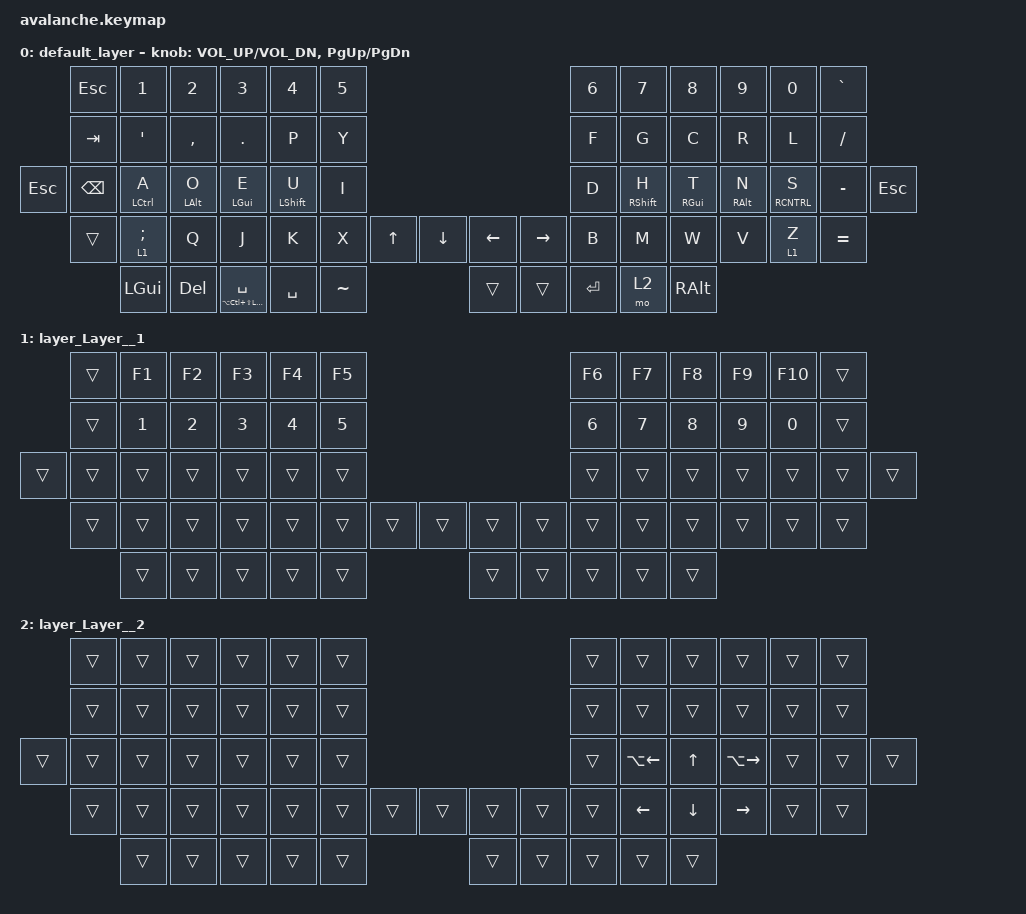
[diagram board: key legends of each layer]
#include <behaviors.dtsi>
#include <dt-bindings/zmk/keys.h>

/ {
    behaviors {
        bhm: balanced_homerow_mods {
            compatible = "zmk,behavior-hold-tap";
            label = "HOMEROW_MODS";
            #binding-cells = <2>;
            tapping-term-ms = <200>;    // <---[[moderate duration]]
            quick-tap-ms = <0>;
            flavor = "balanced";
            bindings = <&kp>, <&kp>;
        };
        hm: homerow_mods {
            compatible = "zmk,behavior-hold-tap";
            label = "HOMEROW_MODS";
            #binding-cells = <2>;
            tapping-term-ms = <250>;
            flavor = "tap-preferred";
            bindings = <&kp>, <&kp>;
        };
    };

	keymap {
		compatible = "zmk,keymap";

/*
        &trans  &trans  &trans  &trans  &trans  &trans                                   &trans  &trans  &trans  &trans  &trans  &trans 
// ------------------------------------------------------------------------------------------------------------------------------------------------------------------------------------
        &trans  &trans  &trans  &trans  &trans  &trans                                   &trans  &trans  &trans  &trans  &trans  &trans 
// ------------------------------------------------------------------------------------------------------------------------------------------------------------------------------------
&trans  &trans  &trans  &trans  &trans  &trans  &trans                                   &trans  &trans  &trans  &trans  &trans  &trans  &trans 
// ------------------------------------------------------------------------------------------------------------------------------------------------------------------------------------
        &trans  &trans  &trans  &trans  &trans  &trans  &trans  &trans    &trans &trans  &trans  &trans  &trans  &trans  &trans  &trans 
// ------------------------------------------------------------------------------------------------------------------------------------------------------------------------------------
                                &trans  &trans  &trans  &trans  &trans    &trans &trans  &trans  &trans  &trans
*/

		default_layer {
			bindings = <
        &kp ESC   &kp N1            &kp N2      &kp N3      &kp N4       &kp N5                                   &kp N6 &kp N7       &kp N8      &kp N9      &kp N0        &kp GRAVE
// ------------------------------------------------------------------------------------------------------------------------------------------------------------------------------------
	    &kp TAB   &kp SINGLE_QUOTE  &kp COMMA   &kp DOT     &kp P        &kp Y                                    &kp F  &kp G        &kp C       &kp R       &kp L         &kp SLASH
// ------------------------------------------------------------------------------------------------------------------------------------------------------------------------------------
&kp ESC &kp BSPC  &hm LCTRL A       &hm LALT O  &hm LGUI E  &hm LSHFT U  &kp I                                    &kp D  &hm RSHFT H  &hm RGUI T  &hm RALT N  &hm RCNTRL S  &kp MINUS  &kp ESC
// ------------------------------------------------------------------------------------------------------------------------------------------------------------------------------------
	    &trans    &lt 1 SEMICOLON   &kp Q       &kp J       &kp K        &kp X &kp UP &kp DOWN &kp LEFT &kp RIGHT &kp B  &kp M        &kp W       &kp V       &lt 1 Z       &kp EQUAL
// ------------------------------------------------------------------------------------------------------------------------------------------------------------------------------------
	                   &kp LGUI  &kp DEL  &mt LA(LC(LS(LEFT_GUI))) SPACE  &kp SPACE  &kp TILDE   &trans  &trans &kp RET  &mo 2  &kp RALT
			>;
		    sensor-bindings = <&inc_dec_kp C_VOL_UP C_VOL_DN &inc_dec_kp PG_UP PG_DN>;
		};

        layer_Layer__1 {
            bindings = <
        &trans  &kp F1  &kp F2  &kp F3  &kp F4  &kp F5                                   &kp F6  &kp F7  &kp F8  &kp F9  &kp F10  &trans
// ------------------------------------------------------------------------------------------------------------------------------------------------------------------------------------
        &trans  &kp N1  &kp N2  &kp N3  &kp N4  &kp N5                                   &kp N6  &kp N7  &kp N8  &kp N9  &kp N0   &trans
// ------------------------------------------------------------------------------------------------------------------------------------------------------------------------------------
&trans  &trans  &trans  &trans  &trans  &trans  &trans                                   &trans  &trans  &trans  &trans  &trans  &trans  &trans 
// ------------------------------------------------------------------------------------------------------------------------------------------------------------------------------------
        &trans  &trans  &trans  &trans  &trans  &trans  &trans  &trans    &trans &trans  &trans  &trans  &trans  &trans  &trans  &trans 
// ------------------------------------------------------------------------------------------------------------------------------------------------------------------------------------
                                &trans  &trans  &trans  &trans  &trans    &trans &trans  &trans  &trans  &trans
            >;
        };

        layer_Layer__2 {
            bindings = <
        &trans  &trans  &trans  &trans  &trans  &trans                                   &trans  &trans         &trans        &trans         &trans  &trans 
// ------------------------------------------------------------------------------------------------------------------------------------------------------------------------------------
        &trans  &trans  &trans  &trans  &trans  &trans                                   &trans  &trans         &trans        &trans         &trans  &trans 
// ------------------------------------------------------------------------------------------------------------------------------------------------------------------------------------
&trans  &trans  &trans  &trans  &trans  &trans  &trans                                   &trans  &kp LA(LEFT)   &kp UP_ARROW  &kp LA(RIGHT)  &trans  &trans  &trans 
// ------------------------------------------------------------------------------------------------------------------------------------------------------------------------------------
        &trans  &trans  &trans  &trans  &trans  &trans  &trans  &trans    &trans &trans  &trans  &kp LEFT       &kp DOWN      &kp RIGHT      &trans  &trans 
// ------------------------------------------------------------------------------------------------------------------------------------------------------------------------------------
                                &trans  &trans  &trans  &trans  &trans    &trans &trans  &trans  &trans  &trans
            >;
        };

	};
};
